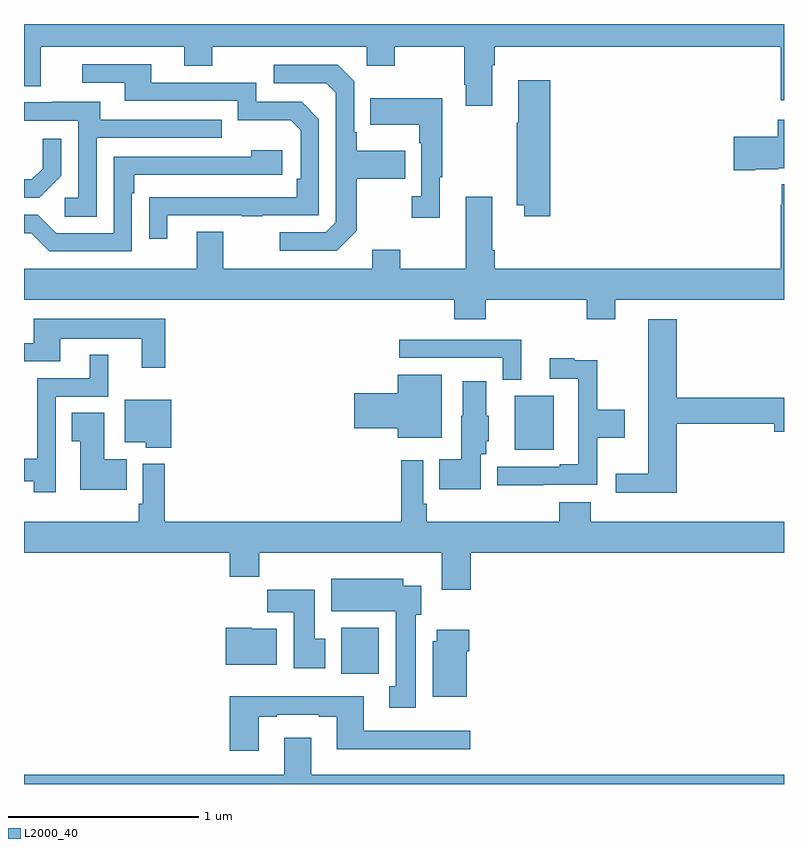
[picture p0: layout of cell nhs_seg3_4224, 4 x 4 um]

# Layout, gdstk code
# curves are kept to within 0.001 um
import gdstk
lib = gdstk.Library(unit=1e-6, precision=1e-09)
def R(c, l, rs):  # rectangles x0, y0, x1, y1
    for r in rs: c.add(gdstk.rectangle(r[:2], r[2:], *l))
def P(c, l, *ps):  # polygons
    for p in ps: c.add(gdstk.Polygon(p, *l))
L2000_40 = (2000, 40)

nhs_seg3_4224 = lib.new_cell('nhs_seg3_4224')
R(nhs_seg3_4224, L2000_40, [(336.671,666.98,336.868,667.222), (337.583,668.159,337.789,668.443)])
P(nhs_seg3_4224, L2000_40, [(337.465,670.184),(337.478,670.184),(337.478,670.28),(338.982,670.28),(338.982,669.999),(339,669.999),(339,670.4),(335,670.4),(335,670.072),(335.089,670.072),(335.089,670.28),(335.843,670.28),(335.843,670.181),(335.991,670.181),(335.991,670.28),(336.804,670.28),(336.804,670.181),(336.951,670.181),(336.951,670.28),(337.318,670.28),(337.318,670.081),(337.325,670.081),(337.325,669.969),(337.465,669.969)],
  [(335.755,669.393),(336.145,669.393),(336.145,669.388),(336.257,669.388),(336.257,669.393),(336.552,669.393),(336.552,669.9),(336.462,669.99),(336.222,669.99),(336.222,670.092),(335.671,670.092),(335.671,670.188),(335.307,670.188),(335.307,670.092),(335.531,670.092),(335.531,669.996),(336.126,669.996),(336.126,669.893),(336.403,669.893),(336.456,669.84),(336.456,669.586),(336.436,669.586),(336.436,669.489),(335.659,669.488),(335.659,669.27),(335.755,669.27)],
  [(336.751,669.313),(336.751,669.586),(337.007,669.586),(337.007,669.733),(336.751,669.733),(336.751,669.829),(336.738,669.829),(336.738,670.098),(336.651,670.185),(336.315,670.185),(336.315,670.089),(336.591,670.089),(336.642,670.038),(336.642,669.357),(336.588,669.303),(336.345,669.303),(336.345,669.207),(336.645,669.207)],
  [(337.769,670.105),(337.601,670.105),(337.601,669.881),(337.594,669.881),(337.594,669.446),(337.634,669.446),(337.634,669.387),(337.769,669.387)],
  [(337.189,669.593),(337.201,669.593),(337.201,670.009),(336.823,670.009),(336.823,669.869),(337.08,669.869),(337.08,669.773),(337.092,669.773),(337.092,669.494),(337.041,669.494),(337.041,669.381),(337.189,669.381)],
  [(335.382,669.801),(336.041,669.801),(336.041,669.897),(335.401,669.897),(335.401,669.991),(335.147,669.991),(335.147,669.987),(335,669.987),(335,669.891),(335.286,669.891),(335.286,669.486),(335.214,669.486),(335.214,669.385),(335.382,669.385)],
  [(338.848,669.635),(338.97,669.635),(338.97,669.641),(339,669.641),(339,669.895),(338.966,669.895),(338.966,669.807),(338.736,669.807),(338.736,669.629),(338.848,669.629)],
  [(335.196,669.602),(335.196,669.796),(335.099,669.796),(335.099,669.639),(335.042,669.582),(335,669.582),(335,669.486),(335.08,669.486)],
  [(335.568,669.509),(335.581,669.509),(335.581,669.606),(336.358,669.606),(336.358,669.736),(336.197,669.736),(336.197,669.702),(335.472,669.702),(335.472,669.3),(335.169,669.3),(335.073,669.396),(335,669.396),(335,669.3),(335.037,669.3),(335.133,669.204),(335.568,669.204)],
  [(337.43,668.948),(337.961,668.948),(337.961,668.846),(338.113,668.846),(338.113,668.948),(339,668.948),(339,669.556),(338.989,669.556),(338.989,669.449),(338.982,669.449),(338.982,669.112),(337.478,669.112),(337.478,669.208),(337.465,669.208),(337.465,669.49),(337.325,669.49),(337.325,669.112),(336.981,669.112),(336.981,669.211),(336.833,669.211),(336.833,669.112),(336.049,669.112),(336.049,669.307),(335.909,669.307),(335.909,669.112),(335,669.112),(335,668.948),(337.265,668.948),(337.265,668.846),(337.43,668.846)],
  [(335.743,668.848),(335.051,668.848),(335.051,668.721),(335,668.721),(335,668.625),(335.191,668.625),(335.191,668.744),(335.621,668.744),(335.621,668.592),(335.743,668.592)],
  [(338.435,668.296),(338.948,668.296),(338.948,668.254),(339,668.254),(339,668.432),(338.435,668.432),(338.435,668.845),(338.285,668.845),(338.285,668.033),(338.115,668.033),(338.115,667.934),(338.435,667.934)],
  [(337.618,668.739),(336.975,668.739),(336.975,668.643),(337.521,668.643),(337.521,668.528),(337.618,668.528)],
  [(335.166,668.439),(335.443,668.439),(335.443,668.659),(335.345,668.659),(335.345,668.535),(335.069,668.535),(335.069,668.111),(335,668.111),(335,667.994),(335.05,667.994),(335.05,667.935),(335.166,667.935)],
  [(337.733,667.974),(338.018,667.974),(338.018,668.222),(338.161,668.222),(338.161,668.37),(338.018,668.37),(338.018,668.63),(337.895,668.63),(337.895,668.641),(337.767,668.641),(337.767,668.532),(337.917,668.532),(337.917,668.083),(337.82,668.083),(337.82,668.07),(337.491,668.07),(337.491,667.973),(337.733,667.973)],
  [(337.198,668.554),(336.968,668.554),(336.968,668.456),(336.738,668.456),(336.738,668.273),(336.968,668.273),(336.968,668.222),(337.198,668.222)],
  [(337.405,668.136),(337.432,668.136),(337.432,668.205),(337.447,668.205),(337.447,668.337),(337.432,668.337),(337.432,668.521),(337.31,668.521),(337.31,668.337),(337.301,668.337),(337.301,668.11),(337.186,668.11),(337.186,667.952),(337.405,667.952)],
  [(335.776,668.422),(335.531,668.422),(335.531,668.198),(335.64,668.198),(335.64,668.171),(335.776,668.171)],
  [(335.54,668.11),(335.422,668.11),(335.422,668.354),(335.251,668.354),(335.251,668.203),(335.297,668.203),(335.297,667.949),(335.54,667.949)],
  [(337.352,667.616),(339,667.616),(339,667.78),(337.982,667.78),(337.982,667.882),(337.817,667.882),(337.817,667.78),(337.121,667.78),(337.121,667.876),(337.101,667.876),(337.101,668.104),(336.985,668.104),(336.985,667.78),(335.741,667.78),(335.741,668.086),(335.625,668.086),(335.625,667.876),(335.605,667.876),(335.605,667.78),(335,667.78),(335,667.616),(336.083,667.616),(336.083,667.492),(336.239,667.492),(336.239,667.616),(337.199,667.616),(337.199,667.422),(337.352,667.422)],
  [(337.063,667.29),(337.09,667.29),(337.09,667.444),(336.997,667.444),(336.997,667.48),(336.617,667.48),(336.617,667.31),(336.956,667.31),(336.956,666.914),(336.923,666.914),(336.923,666.801),(337.063,666.801)],
  [(336.586,667.164),(336.529,667.164),(336.529,667.422),(336.28,667.422),(336.28,667.304),(336.419,667.304),(336.419,667.008),(336.586,667.008)],
  [(336.331,667.216),(336.198,667.216),(336.198,667.222),(336.062,667.222),(336.062,667.028),(336.331,667.028)],
  [(337.33,667.1),(337.343,667.1),(337.343,667.213),(337.172,667.213),(337.172,667.152),(337.151,667.152),(337.151,666.86),(337.33,666.86)],
  [(336.235,666.753),(336.331,666.753),(336.331,666.765),(336.551,666.765),(336.551,666.753),(336.647,666.753),(336.647,666.584),(337.348,666.584),(337.348,666.681),(336.787,666.681),(336.787,666.862),(336.083,666.862),(336.083,666.576),(336.235,666.576)],
  [(339,666.448),(336.511,666.448),(336.511,666.643),(336.371,666.643),(336.371,666.448),(335,666.448),(335,666.4),(339,666.4)])

lib.write_gds('nhs_seg3_4224.gds')
